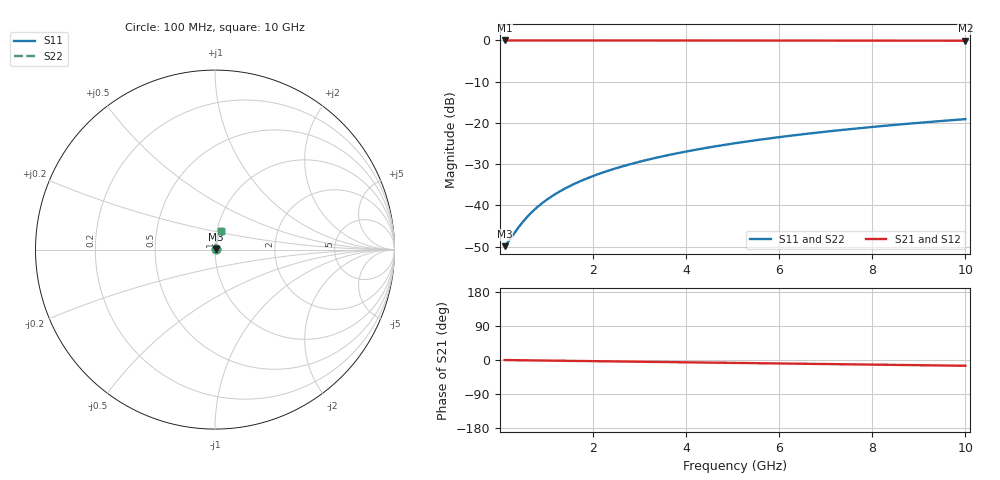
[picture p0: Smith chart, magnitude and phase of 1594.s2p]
# Hz S RI R 50.00
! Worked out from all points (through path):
!   100 points, 100 MHz to 10 GHz, reference 50 ohm
!   highest |S21| = -0.03 dB at 100 MHz (marker M1); lowest = -0.1 dB at 10 GHz (marker M2)
!   group delay of S21, straight-line fit = 4.23 ps
!   lowest |S11| = -49.9 dB at 100 MHz (marker M3), VSWR 1.01, Z = 50.3 + j0.112 ohm
!   |S11| at or under -10 dB: start of sweep to end of sweep
!   |S22| runs from -49.9 to -19.1 dB; largest |S21 - S12| = 0
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1e8  0.003 0.00112  0.997 -0.00265  0.997 -0.00265  0.003 0.00112
2e8  0.00303 0.00223  0.997 -0.00529  0.997 -0.00529  0.00303 0.00223
4e8  0.00309 0.00446  0.9969 -0.0106  0.9969 -0.0106  0.00309 0.00446
5e8  0.00313 0.00558  0.9968 -0.0132  0.9968 -0.0132  0.00313 0.00558
6e8  0.00317 0.00669  0.9968 -0.0159  0.9968 -0.0159  0.00317 0.00669
7e8  0.00322 0.00781  0.9967 -0.0185  0.9967 -0.0185  0.00322 0.00781
8e8  0.00327 0.00892  0.9966 -0.0212  0.9966 -0.0212  0.00327 0.00892
1e9  0.00339 0.0111  0.9965 -0.0265  0.9965 -0.0265  0.00339 0.0111
1.2e9  0.00353 0.0134  0.9963 -0.0318  0.9963 -0.0318  0.00353 0.0134
1.5e9  0.00378 0.0167  0.9959 -0.0397  0.9959 -0.0397  0.00378 0.0167
1.8e9  0.00409 0.02  0.9955 -0.0476  0.9955 -0.0476  0.00409 0.02
2.1e9  0.00444 0.0234  0.995 -0.0555  0.995 -0.0555  0.00444 0.0234
2.5e9  0.005 0.0278  0.9942 -0.0661  0.9942 -0.0661  0.005 0.0278
2.9e9  0.00565 0.0322  0.9933 -0.0767  0.9933 -0.0767  0.00565 0.0322
3.4e9  0.0066 0.0377  0.992 -0.0898  0.992 -0.0898  0.0066 0.0377
4.2e9  0.00841 0.0464  0.9895 -0.1108  0.9895 -0.1108  0.00841 0.0464
5.1e9  0.0109 0.0561  0.986 -0.1344  0.986 -0.1344  0.0109 0.0561
5.9e9  0.0135 0.0647  0.9823 -0.1552  0.9823 -0.1552  0.0135 0.0647
6.7e9  0.0164 0.0731  0.9782 -0.1759  0.9782 -0.1759  0.0164 0.0731
7.5e9  0.0197 0.0813  0.9735 -0.1965  0.9735 -0.1965  0.0197 0.0813
8.4e9  0.0239 0.0905  0.9676 -0.2195  0.9676 -0.2195  0.0239 0.0905
1e10  0.0323 0.1062  0.9557 -0.2599  0.9557 -0.2599  0.0323 0.1062
